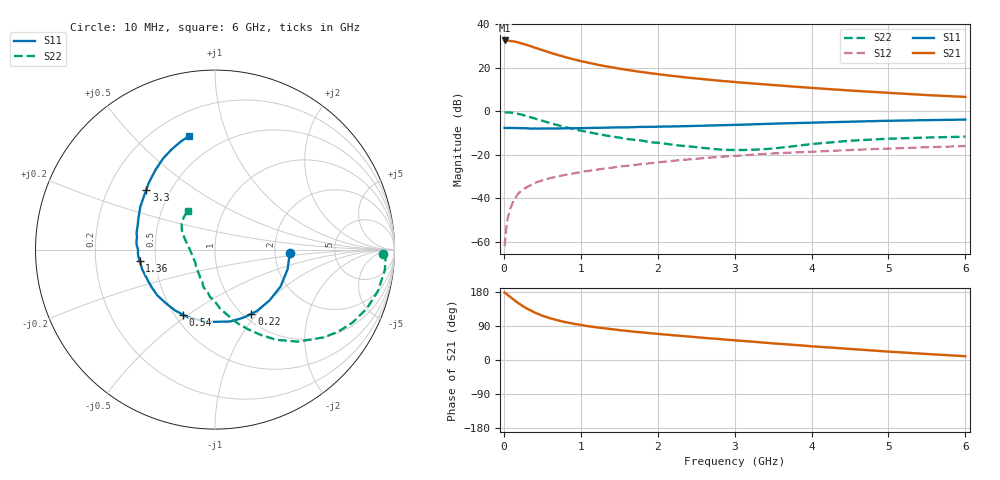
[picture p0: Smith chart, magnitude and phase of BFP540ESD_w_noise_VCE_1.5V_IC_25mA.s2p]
! Infineon Technologies  Discrete & RF Semiconductors
! BFP540ESD
! VCE =  1.5 V,  IC =  25 mA
! Common Emitter S-Parameters:  Nov 2015
# GHz  S  MA  R  50
!  f  S11  S21  S12  S22
! GHz  MAG  ANG  MAG  ANG  MAG  ANG  MAG  ANG
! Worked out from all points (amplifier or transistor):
!   210 points, 10 MHz to 6 GHz, reference 50 ohm
!   highest |S21| = 32.6 dB at 10 MHz (marker M1)
!   |S21| within 3 dB of that: start of sweep to 376.5 MHz
!   unconditionally stable (mu >= 1): start of sweep to 14.89 MHz; 1.915 GHz to end of sweep
!   at 185 MHz: K = 0.24, MSG = 34.8 dB, |S12| = -37.9 dB
!   at 1.52 GHz: K = 0.93, MSG = 22.4 dB, |S12| = -25.3 dB
!   at 6 GHz: K = 1.12, MAG = 9.2 dB, |S12| = -15.9 dB
!   lowest NFmin = 1.29 dB at 900 MHz
!   S11 on the Smith chart (normalised r, x): 10 MHz: 2.42, -0.12; 220 MHz: 1.09, -0.94; 540 MHz: 0.55, -0.48; 1.36 GHz: 0.41, -0.06; 3.3 GHz: 0.37, +0.33; 6 GHz: 0.34, +0.74
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0.01  0.4168 -2.9  42.65 178.1  0.0008 111.6  0.9365 -1.4
0.02  0.4158 -6.6  42.16 177.0  0.0012 91.7  0.9511 -2.2
0.05  0.419 -14.9  42.3 171.7  0.0035 85.7  0.9533 -6.8
0.1  0.4194 -29.4  41.4 163.5  0.007 83.0  0.9367 -14.3
0.15  0.4154 -43.3  39.95 155.6  0.0104 76.2  0.9072 -21.2
0.2  0.4143 -55.9  37.98 148.3  0.0137 75.3  0.8683 -27.8
0.22  0.4112 -60.5  37.04 145.8  0.0146 73.5  0.8499 -30.1
0.3  0.4092 -78.4  33.59 135.6  0.0182 68.4  0.7777 -39.0
0.34  0.4029 -85.5  31.74 131.8  0.0199 66.8  0.7399 -42.4
0.4  0.4054 -96.3  29.27 125.3  0.0225 64.9  0.6887 -48.1
0.5  0.4057 -111.5  25.6 116.8  0.026 61.6  0.6076 -55.8
0.54  0.4037 -116.2  24.25 114.4  0.0273 60.8  0.5796 -58.0
0.6  0.4057 -123.2  22.33 110.2  0.0293 59.8  0.5394 -61.8
0.8  0.4102 -141.6  17.59 99.8  0.0347 58.0  0.4344 -72.4
1.02  0.412 -155.7  14.05 91.7  0.0409 57.8  0.3543 -81.2
1.36  0.4242 -171.4  10.62 82.3  0.0498 56.5  0.2735 -93.7
2.02  0.4472 167.5  7.095 68.5  0.0678 53.0  0.1891 -114.7
3.1  0.4951 143.0  4.575 50.4  0.0973 44.7  0.1296 -160.1
3.3  0.5077 138.9  4.289 47.3  0.1027 42.7  0.1329 -170.7
4.1  0.5587 125.5  3.369 34.9  0.1208 35.2  0.1838 158.4
5.1  0.6131 112.1  2.605 20.9  0.142 26.0  0.238 140.5
6  0.649 103.0  2.15 9.9  0.1599 18.9  0.2629 125.5
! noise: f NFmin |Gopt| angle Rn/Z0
0.9  1.29  0.34  -137  0.12
1.8  1.44  0.36  -143  0.12
2.4  1.47  0.37  -133  0.13
3  1.58  0.39  -128  0.15
4  1.65  0.49  -105  0.26
5  1.76  0.57  -87  0.4
6  2.09  0.56  -87  0.63
